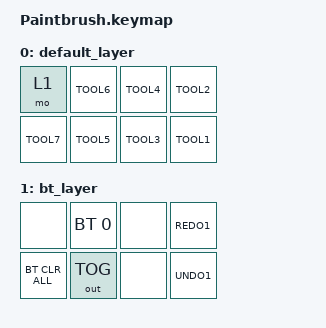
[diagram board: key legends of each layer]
#include <behaviors.dtsi>
#include <dt-bindings/zmk/keys.h>
#include <dt-bindings/zmk/bt.h>
#include <dt-bindings/zmk/outputs.h>


/ {
    macros {
        TOOL1: TOOL1 {
            compatible = "zmk,behavior-macro";
            #binding-cells = <0>;
            bindings
                = <&macro_press &kp LCMD>
                , <&macro_tap &kp N1>
                , <&macro_release &kp LCMD>
                ;
        };

        TOOL2: TOOL2 {
            compatible = "zmk,behavior-macro";
            #binding-cells = <0>;
            bindings
                = <&macro_press &kp LCMD>
                , <&macro_tap &kp N2>
                , <&macro_release &kp LCMD>
                ;
        };

        TOOL3: TOOL3 {
            compatible = "zmk,behavior-macro";
            #binding-cells = <0>;
            bindings
                = <&macro_press &kp LCMD>
                , <&macro_tap &kp N3>
                , <&macro_release &kp LCMD>
                ;
        };

        TOOL4: TOOL4 {
            compatible = "zmk,behavior-macro";
            #binding-cells = <0>;
            bindings
                = <&macro_press &kp LCMD>
                , <&macro_tap &kp N4>
                , <&macro_release &kp LCMD>
                ;
        };

        TOOL5: TOOL5 {
            compatible = "zmk,behavior-macro";
            #binding-cells = <0>;
            bindings
                = <&macro_press &kp LCMD>
                , <&macro_tap &kp N5>
                , <&macro_release &kp LCMD>
                ;
        };

        TOOL6: TOOL6 {
            compatible = "zmk,behavior-macro";
            #binding-cells = <0>;
            bindings
                = <&macro_press &kp LCMD>
                , <&macro_tap &kp N6>
                , <&macro_release &kp LCMD>
                ;
        };

        TOOL7: TOOL7 {
            compatible = "zmk,behavior-macro";
            #binding-cells = <0>;
            bindings
                = <&macro_press &kp LCMD>
                , <&macro_tap &kp N7>
                , <&macro_release &kp LCMD>
                ;
        };

        TOOL8: TOOL8 {
            compatible = "zmk,behavior-macro";
            #binding-cells = <0>;
            bindings
                = <&macro_press &kp LCMD>
                , <&macro_tap &kp N8>
                , <&macro_release &kp LCMD>
                ;
        };

        UNDO1: UNDO1 {
            compatible = "zmk,behavior-macro";
            #binding-cells = <0>;
            bindings
                = <&macro_press &kp LCMD>
                , <&macro_tap &kp Z>
                , <&macro_release &kp LCMD>
                ;
        };

        REDO1: REDO1 { //not working for some reason
            compatible = "zmk,behavior-macro";
            #binding-cells = <0>;
            bindings
                = <&macro_tap &kp LCMD &kp UP_ARROW &kp Z>
                ;
        };
    };


    


    keymap {
        compatible = "zmk,keymap";

        default_layer { // Layer 0
// ----------------------------------------------
// |     Z     |     M     |     K     |
// |     A     |     B     |     C     |
            bindings = <
                &mo 1   &TOOL6    &TOOL4    &TOOL2 
                &TOOL7    &TOOL5    &TOOL3    &TOOL1
            >;
        };

        bt_layer { //layer 1
            bindings = <
                &none    &bt BT_SEL 0    &none    &REDO1
                &bt BT_CLR_ALL    &out OUT_TOG    &none    &UNDO1
            >;
        };        
    };
};
